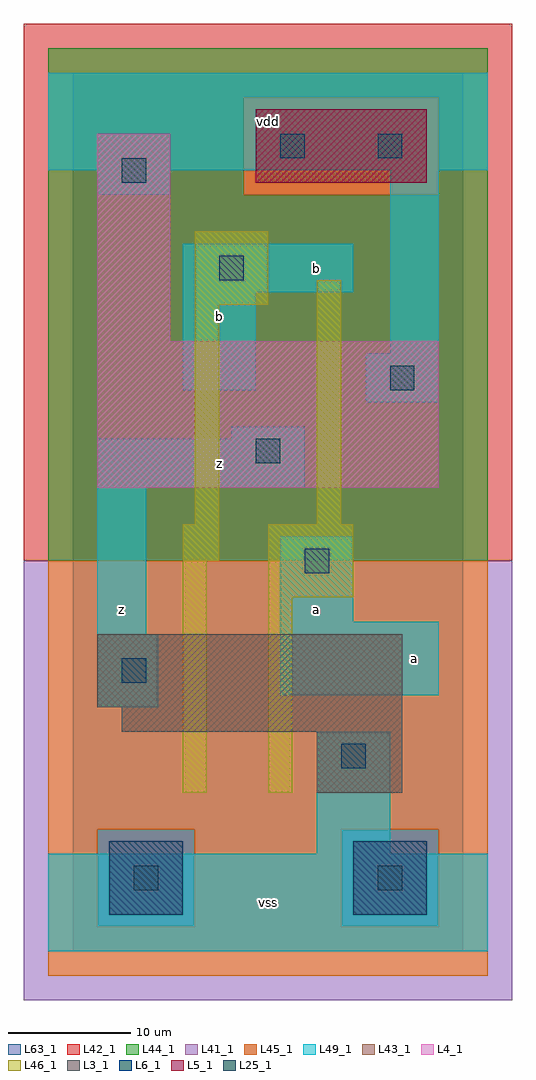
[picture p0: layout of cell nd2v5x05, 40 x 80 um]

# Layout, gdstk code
import gdstk
lib = gdstk.Library(unit=1e-6, precision=1e-09)
def R(c, l, rs):  # rectangles x0, y0, x1, y1
    for r in rs: c.add(gdstk.rectangle(r[:2], r[2:], *l))
L3_1 = (3, 1)
L4_1 = (4, 1)
L5_1 = (5, 1)
L6_1 = (6, 1)
L25_1 = (25, 1)
L41_1 = (41, 1)
L42_1 = (42, 1)
L43_1 = (43, 1)
L44_1 = (44, 1)
L45_1 = (45, 1)
L46_1 = (46, 1)
L49_1 = (49, 1)
L63_1 = (63, 1)

nd2v5x05 = lib.new_cell('nd2v5x05')
R(nd2v5x05, L3_1, [(20,13,27,18), (4,18,27,20), (2,20,27,26)])
R(nd2v5x05, L4_1, [(2,38,30,50), (2,50,8,67)])
R(nd2v5x05, L5_1, [(15,63,29,69)])
R(nd2v5x05, L6_1, [(3,3,9,9), (3,3,9,9), (23,3,29,9), (23,3,29,9)])
R(nd2v5x05, L25_1, [(5,5,7,7), (25,5,27,7), (22,15,24,17), (4,22,6,24), (19,31,21,33), (15,40,17,42), (26,46,28,48), (12,55,14,57), (4,63,6,65), (17,65,19,67), (25,65,27,67)])
R(nd2v5x05, L41_1, [(-4,-4,36,32)])
R(nd2v5x05, L42_1, [(-4,32,36,76)])
R(nd2v5x05, L43_1, [(3,3,9,9), (23,3,29,9), (20,13,27,18), (4,18,27,20), (2,20,27,26), (2,38,30,50), (2,50,8,67), (15,63,29,69)])
R(nd2v5x05, L44_1, [(2,2,10,10), (22,2,30,10), (-2,32,34,62), (-2,62,14,70), (30,62,34,70), (-2,70,34,74)])
R(nd2v5x05, L45_1, [(-2,-2,34,2), (-2,2,2,10), (10,2,22,10), (30,2,34,10), (-2,10,34,32), (14,62,30,70)])
R(nd2v5x05, L46_1, [(9,13,11,32), (16,13,18,29), (16,29,23,35), (9,32,12,35), (10,35,12,53), (20,35,22,55), (10,53,16,59)])
R(nd2v5x05, L49_1, [(-2,0,34,8), (20,8,26,18), (2,20,7,26), (17,21,30,27), (2,26,6,38), (17,27,23,34), (2,38,19,42), (13,42,19,43), (24,45,30,49), (9,46,15,54), (26,49,30,64), (9,54,23,58), (2,62,8,64), (-2,64,34,72)])
R(nd2v5x05, L63_1, [(0,0,32,72)])
nd2v5x05.add(gdstk.Label('z', (4,28), layer=49, texttype=1))
nd2v5x05.add(gdstk.Label('z', (12,40), layer=49, texttype=1))
nd2v5x05.add(gdstk.Label('b', (12,52), layer=49, texttype=1))
nd2v5x05.add(gdstk.Label('vss', (16,4), layer=49, texttype=1))
nd2v5x05.add(gdstk.Label('a', (20,28), layer=49, texttype=1))
nd2v5x05.add(gdstk.Label('b', (20,56), layer=49, texttype=1))
nd2v5x05.add(gdstk.Label('vdd', (16,68), layer=49, texttype=1))
nd2v5x05.add(gdstk.Label('a', (28,24), layer=49, texttype=1))

lib.write_gds('nd2v5x05.gds')
